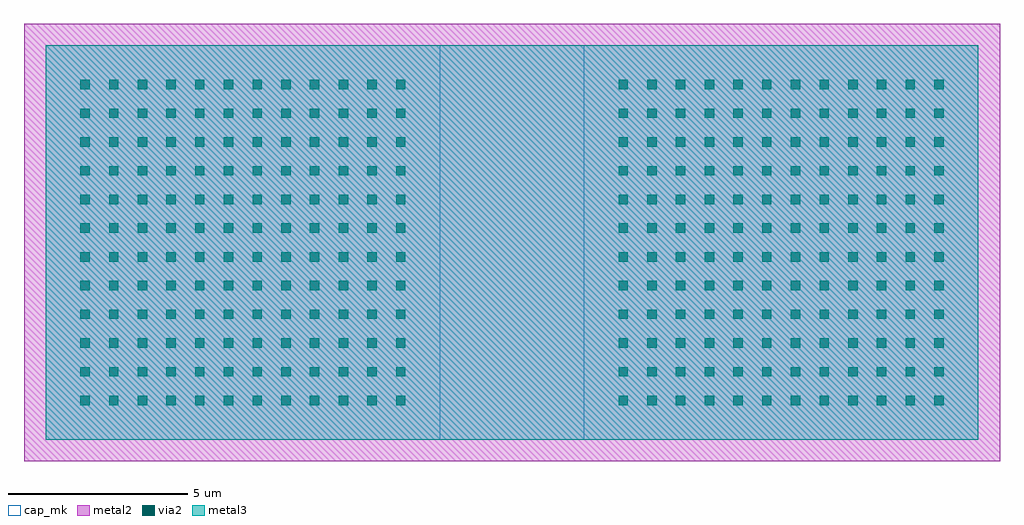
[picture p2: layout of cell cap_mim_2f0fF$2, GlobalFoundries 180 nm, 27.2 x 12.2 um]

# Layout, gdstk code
import gdstk
lib = gdstk.Library(unit=1e-6, precision=5e-09)
def R(c, l, rs):  # rectangles x0, y0, x1, y1
    for r in rs: c.add(gdstk.rectangle(r[:2], r[2:], *l))
def A(c, l, x, y, w, h, nx, ny, dx, dy):  # array of equal rectangles
    R(c, l, [(x+i*dx, y+j*dy, x+i*dx+w, y+j*dy+h) for i in range(nx) for j in range(ny)])
metal2 = (36, 0)
via2 = (38, 0)
metal3 = (42, 0)
cap_mk = (117, 5)

unnamed_e0b52299 = lib.new_cell('Unnamed_e0b52299')
R(unnamed_e0b52299, metal2, [(-6.1,-6.1,6.1,6.1)])
A(unnamed_e0b52299, via2, -4.53, -4.53, 0.26, 0.26, 12, 12, 0.8, 0.8)
A(unnamed_e0b52299, metal3, -4.65, -4.65, 0.5, 0.5, 12, 12, 0.8, 0.8)
R(unnamed_e0b52299, metal3, [(-5.5,-5.5,5.5,5.5)])
R(unnamed_e0b52299, cap_mk, [(-5.5,-5.5,5.5,5.5)])

unnamed_d7d6e874 = lib.new_cell('Unnamed_d7d6e874')
R(unnamed_d7d6e874, metal2, [(-6.1,-6.1,6.1,6.1)])
A(unnamed_d7d6e874, via2, -4.53, -4.53, 0.26, 0.26, 12, 12, 0.8, 0.8)
A(unnamed_d7d6e874, metal3, -4.65, -4.65, 0.5, 0.5, 12, 12, 0.8, 0.8)
R(unnamed_d7d6e874, metal3, [(-5.5,-5.5,5.5,5.5)])
R(unnamed_d7d6e874, cap_mk, [(-5.5,-5.5,5.5,5.5)])

straight_route_169f2fb3 = lib.new_cell('straight_route_169f2fb3')
R(straight_route_169f2fb3, metal3, [(5.5,-5.5,9.5,5.5)])

straight_route_8c062eb4 = lib.new_cell('straight_route_8c062eb4')
R(straight_route_8c062eb4, metal2, [(6.1,-6.1,8.9,6.1)])

cap_mim_2f0ff_2 = lib.new_cell('cap_mim_2f0fF$2')
cap_mim_2f0ff_2.add(gdstk.Reference(unnamed_e0b52299, (0,0)))
cap_mim_2f0ff_2.add(gdstk.Reference(unnamed_d7d6e874, (15,0)))
cap_mim_2f0ff_2.add(gdstk.Reference(straight_route_169f2fb3, (0,0)))
cap_mim_2f0ff_2.add(gdstk.Reference(straight_route_8c062eb4, (0,0)))

lib.write_gds('cap_mim_2f0fF_2.gds')
